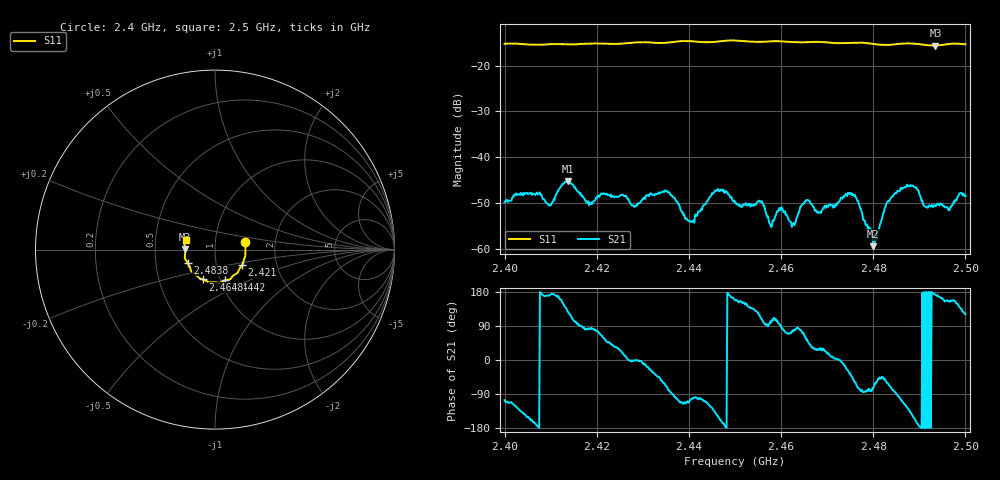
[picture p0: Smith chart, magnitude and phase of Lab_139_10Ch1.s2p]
# Hz S RI R 50
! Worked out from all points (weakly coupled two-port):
!   601 points, 2.4 GHz to 2.5 GHz, reference 50 ohm
!   highest |S21| = -45.28 dB at 2.4138 GHz (marker M1); lowest = -59.4 dB at 2.48 GHz (marker M2)
!   lowest |S11| = -15.6 dB at 2.4935 GHz (marker M3), VSWR 1.40, Z = 35.8 + j0.2 ohm
!   |S11| at or under -10 dB: start of sweep to end of sweep
!   S12 and S22 are empty: the file has one direction only
!   S11 on the Smith chart (normalised r, x): 2.4 GHz: 1.40, +0.12; 2.421 GHz: 1.33, -0.24; 2.4442 GHz: 1.05, -0.37; 2.4648 GHz: 0.83, -0.28; 2.4838 GHz: 0.73, -0.11; 2.5 GHz: 0.72, +0.08
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2.4e9  0.1684 0.0408  -0.000903 -0.00308  0 0  0 0
2.409833e9  0.1692 -0.0272  -0.00297 0.00045  0 0  0 0
2.413833e9  0.1632 -0.049  -0.0032 0.0044  0 0  0 0
2.416667e9  0.1588 -0.0681  1.96e-05 0.00377  0 0  0 0
2.421e9  0.1506 -0.0879  0.00169 0.00366  0 0  0 0
2.428167e9  0.1284 -0.1246  0.00286 -5.03e-05  0 0  0 0
2.433333e9  0.1081 -0.1398  0.00284 -0.00286  0 0  0 0
2.440333e9  0.0809 -0.1665  -0.000503 -0.00191  0 0  0 0
2.444167e9  0.0568 -0.171  -0.00148 -0.00307  0 0  0 0
2.446667e9  0.0389 -0.1802  -0.00384 -0.00182  0 0  0 0
2.45e9  0.0247 -0.1865  -0.00293 0.00121  0 0  0 0
2.4555e9  -0.0106 -0.1819  -0.00124 0.00299  0 0  0 0
2.462667e9  -0.0515 -0.1734  0.000482 0.00185  0 0  0 0
2.464833e9  -0.0683 -0.1665  0.000982 0.00292  0 0  0 0
2.466667e9  -0.0803 -0.1626  0.00255 0.00171  0 0  0 0
2.4755e9  -0.1252 -0.1259  0.00274 -0.00286  0 0  0 0
2.48e9  -0.1377 -0.1043  0.00028 -0.00103  0 0  0 0
2.483333e9  -0.1503 -0.0762  0.00143 -0.00298  0 0  0 0
2.483833e9  -0.1529 -0.0721  0.00109 -0.00342  0 0  0 0
2.488333e9  -0.168 -0.0466  -0.00385 -0.00295  0 0  0 0
2.4935e9  -0.1657 0.00272  -0.00295 0.000384  0 0  0 0
2.5e9  -0.1629 0.0526  -0.0019 0.00324  0 0  0 0
